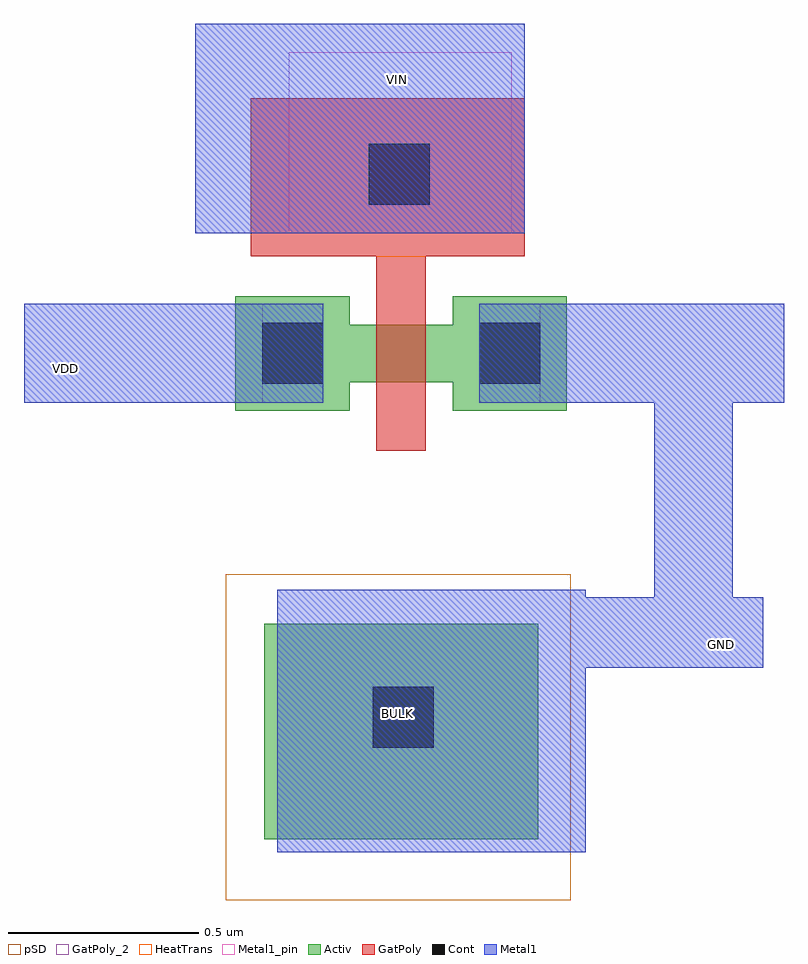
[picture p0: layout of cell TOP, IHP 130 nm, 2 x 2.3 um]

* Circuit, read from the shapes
.subckt TOP GND VDD VIN
XM1 GND VIN VDD GND sg13_lv_nmos w=0.15u l=0.13u
.ends

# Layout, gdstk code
from math import pi, radians
import gdstk
lib = gdstk.Library(unit=1e-6, precision=1e-09)
def R(c, l, rs):  # rectangles x0, y0, x1, y1
    for r in rs: c.add(gdstk.rectangle(r[:2], r[2:], *l))
Activ = (1, 0)
GatPoly = (5, 0)
GatPoly_2 = (5, 2)
Cont = (6, 0)
Metal1 = (8, 0)
Metal1_pin = (8, 2)
pSD = (14, 0)
HeatTrans = (51, 0)

nmos_1 = lib.new_cell('nmos$1')
R(nmos_1, Activ, [(0,0,0.3,0.3), (0.57,0,0.87,0.3), (0,0.075,0.87,0.225)])
R(nmos_1, GatPoly, [(0.37,-0.105,0.5,0.405)])
R(nmos_1, GatPoly_2, [(0.37,-0.105,0.5,0.405)])
R(nmos_1, Cont, [(0.07,0.07,0.23,0.23), (0.64,0.07,0.8,0.23)])
R(nmos_1, Metal1, [(0.07,0.02,0.23,0.28), (0.64,0.02,0.8,0.28)])
R(nmos_1, Metal1_pin, [(0.07,0.02,0.23,0.28), (0.64,0.02,0.8,0.28)])
R(nmos_1, HeatTrans, [(0.37,-0.105,0.5,0.405)])
nmos_1.add(gdstk.Label('nmos', (0.435,0.15), layer=63, texttype=0))
nmos_1.add(gdstk.Label('nmos', (0.435,0.15), layer=51, texttype=0))

top = lib.new_cell('TOP')
R(top, Activ, [(-0.77,-1.115,-0.05,-0.55)])
R(top, GatPoly, [(-0.805,0.415,-0.085,0.83)])
R(top, Cont, [(-0.485,-0.875,-0.325,-0.715), (-0.495,0.55,-0.335,0.71)])
R(top, Metal1, [(-0.735,-1.15,0.075,-0.46), (-0.16,-0.665,0.54,-0.48), (0.255,-0.48,0.46,0.03), (-1.4,0.03,-0.775,0.29), (-0.045,0.03,0.595,0.29), (-0.95,0.475,-0.085,1.025)])
R(top, Metal1_pin, [(-0.705,0.475,-0.12,0.95)])
R(top, pSD, [(-0.87,-1.275,0.035,-0.42)])
top.add(gdstk.Reference(nmos_1, (0.025,0.31), rotation=pi))
top.add(gdstk.Label('VIN', (-0.42,0.88), layer=8, texttype=25))
top.add(gdstk.Label('VDD', (-1.29,0.12), layer=8, texttype=25))
top.add(gdstk.Label('GND', (0.43,-0.605), layer=8, texttype=25))
top.add(gdstk.Label('BULK', (-0.42,-0.785), layer=40, texttype=25))

lib.write_gds('TOP.gds')
